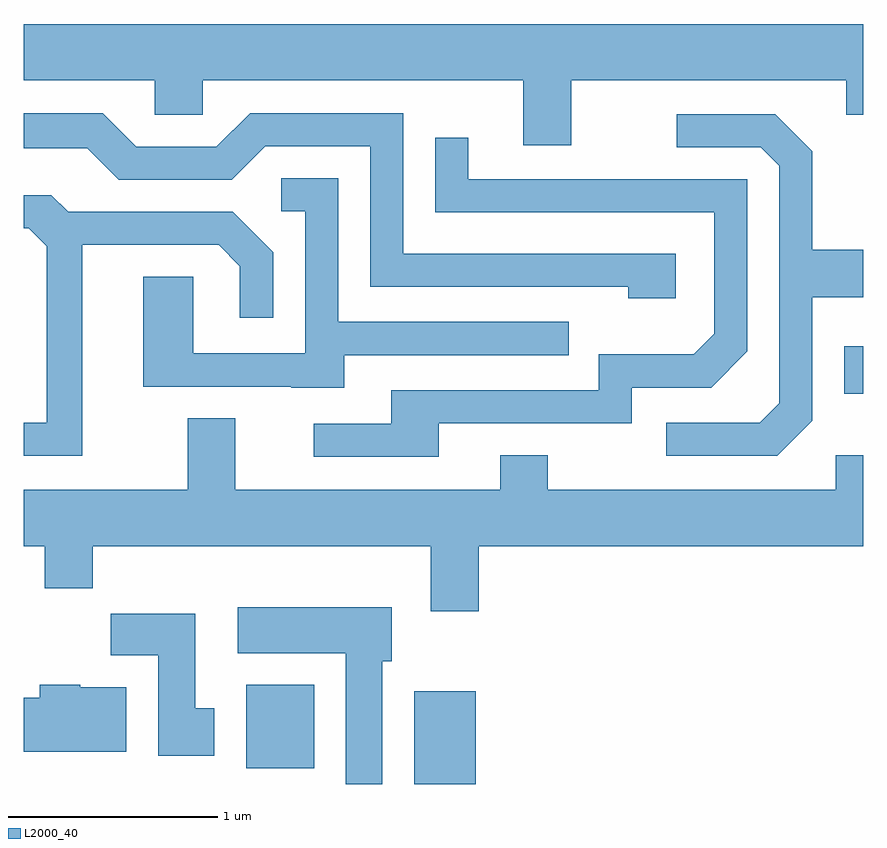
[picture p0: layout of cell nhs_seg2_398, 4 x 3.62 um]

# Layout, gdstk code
import gdstk
lib = gdstk.Library(unit=1e-6, precision=1e-09)
def R(c, l, rs):  # rectangles x0, y0, x1, y1
    for r in rs: c.add(gdstk.rectangle(r[:2], r[2:], *l))
def P(c, l, *ps):  # polygons
    for p in ps: c.add(gdstk.Polygon(p, *l))
L2000_40 = (2000, 40)

nhs_seg2_398 = lib.new_cell('nhs_seg2_398')
R(nhs_seg2_398, L2000_40, [(197.471,1093.802,197.764,1094.244), (196.671,1093.876,196.994,1094.274), (199.521,1095.661,199.611,1095.889)])
P(nhs_seg2_398, L2000_40, [(198.219,1097.156),(199.531,1097.156),(199.531,1096.991),(199.611,1096.991),(199.611,1097.424),(195.611,1097.424),(195.611,1097.156),(196.236,1097.156),(196.236,1096.991),(196.464,1096.991),(196.464,1097.156),(197.991,1097.156),(197.991,1096.846),(198.219,1096.846)],
  [(198.719,1096.329),(197.419,1096.329),(197.419,1096.999),(196.689,1096.999),(196.529,1096.839),(196.147,1096.839),(195.987,1096.999),(195.611,1096.999),(195.611,1096.831),(195.914,1096.831),(196.064,1096.681),(196.602,1096.681),(196.762,1096.841),(197.261,1096.841),(197.261,1096.171),(198.491,1096.171),(198.491,1096.116),(198.719,1096.116)],
  [(199.369,1095.534),(199.369,1096.121),(199.611,1096.121),(199.611,1096.349),(199.369,1096.349),(199.369,1096.817),(199.192,1096.994),(198.723,1096.994),(198.723,1096.836),(199.124,1096.836),(199.211,1096.749),(199.211,1095.617),(199.119,1095.524),(198.673,1095.524),(198.673,1095.366),(199.202,1095.366)],
  [(197.589,1095.521),(198.509,1095.521),(198.509,1095.691),(198.887,1095.691),(199.059,1095.864),(199.059,1096.684),(197.729,1096.684),(197.729,1096.883),(197.571,1096.883),(197.571,1096.526),(198.901,1096.526),(198.901,1095.947),(198.804,1095.849),(198.351,1095.849),(198.351,1095.679),(197.361,1095.679),(197.361,1095.519),(196.993,1095.519),(196.993,1095.361),(197.589,1095.361)],
  [(197.139,1095.846),(198.208,1095.846),(198.208,1096.004),(197.109,1096.004),(197.109,1096.689),(196.838,1096.689),(196.838,1096.531),(196.951,1096.531),(196.951,1095.854),(196.419,1095.854),(196.419,1096.219),(196.181,1096.219),(196.181,1095.696),(196.885,1095.696),(196.885,1095.691),(197.139,1095.691)],
  [(195.889,1096.371),(196.539,1096.371),(196.641,1096.269),(196.641,1096.023),(196.799,1096.023),(196.799,1096.337),(196.607,1096.529),(195.822,1096.529),(195.742,1096.609),(195.611,1096.609),(195.611,1096.451),(195.634,1096.451),(195.721,1096.364),(195.721,1095.524),(195.611,1095.524),(195.611,1095.366),(195.889,1095.366)],
  [(197.779,1094.936),(199.611,1094.936),(199.611,1095.369),(199.481,1095.369),(199.481,1095.204),(198.109,1095.204),(198.109,1095.369),(197.881,1095.369),(197.881,1095.204),(196.619,1095.204),(196.619,1095.544),(196.391,1095.544),(196.391,1095.204),(195.611,1095.204),(195.611,1094.936),(195.711,1094.936),(195.711,1094.736),(195.939,1094.736),(195.939,1094.936),(197.551,1094.936),(197.551,1094.626),(197.779,1094.626)],
  [(197.319,1094.386),(197.364,1094.386),(197.364,1094.644),(196.631,1094.644),(196.631,1094.426),(197.146,1094.426),(197.146,1093.802),(197.319,1093.802)],
  [(196.519,1094.164),(196.429,1094.164),(196.429,1094.614),(196.026,1094.614),(196.026,1094.416),(196.251,1094.416),(196.251,1093.936),(196.519,1093.936)],
  [(196.099,1094.264),(195.88,1094.264),(195.88,1094.274),(195.686,1094.274),(195.686,1094.214),(195.611,1094.214),(195.611,1093.956),(196.099,1093.956)])

lib.write_gds('nhs_seg2_398.gds')
